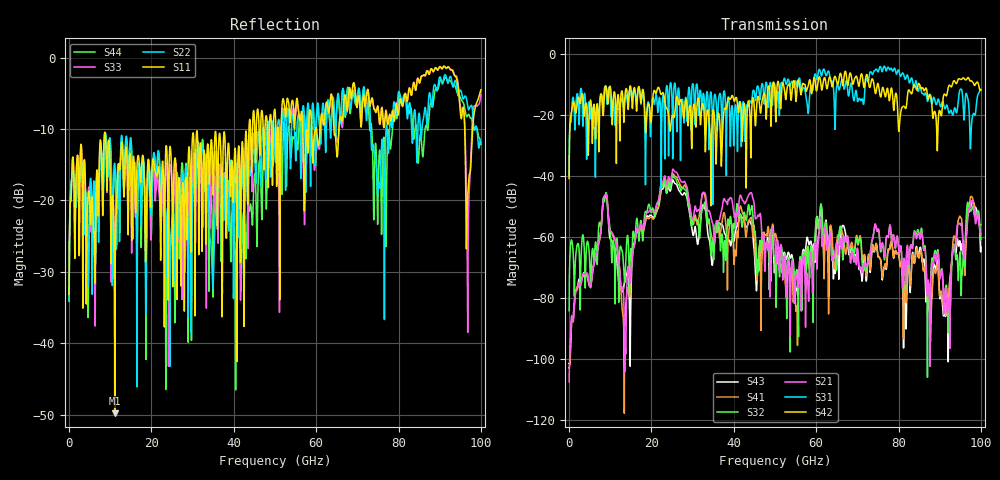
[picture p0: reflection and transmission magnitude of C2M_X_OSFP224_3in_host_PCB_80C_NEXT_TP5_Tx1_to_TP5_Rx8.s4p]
# GHz S RI R 45
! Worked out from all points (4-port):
!   4000 points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, 25 MHz to 100 GHz, reference 45 ohm
!   strongest paths, dB at 25 MHz, 25.02 GHz, 50.02 GHz, 75.03 GHz, 100 GHz:
!     S42: -40.9, -20.4, -14.8, -9.7, -11.8
!     S31: -39.7, -15.6, -10.6, -5.9, -11.5
!     S21: -107.6, -38.7, -61.6, -57.5, -59.1
!     S32: -84.3, -40.0, -67.8, -57.6, -60.3
!     S41: -103.1, -40.1, -59.3, -66.2, -56.0
!     S43: -101.5, -41.9, -68.0, -66.5, -63.4
!   lowest |S11| = -49.8 dB at 11.1 GHz (marker M1), VSWR 1.01, Z = 44.9 + j0.285 ohm
!   |S11| at or under -10 dB: start of sweep to 43.7 GHz; 56.74 GHz to 58.18 GHz (1.445 GHz wide, 2.51 % of centre); 96.08 GHz to 98 GHz (1.925 GHz wide, 1.98 % of centre) (the widest 3 of 14)
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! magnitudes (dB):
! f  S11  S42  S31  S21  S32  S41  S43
! 25 MHz  -33.1  -40.9  -39.7  -107.6  -84.3  -103.1  -101.5
! 8.7 GHz  -10.4  -11.4  -10.6  -46.6  -47.8  -46.6  -47.0
! 11.1 GHz  -49.8  -12.7  -21.6  -60.4  -71.6  -60.9  -64.0
! 13.55 GHz  -15.3  -14.5  -15.4  -100.2  -74.9  -90.1  -74.3
! 25.4 GHz  -17.4  -20.7  -12.9  -38.0  -40.4  -39.4  -41.8
! 54.9 GHz  -8.6  -11.5  -9.1  -74.1  -78.2  -79.6  -75.0
! 100 GHz  -4.5  -11.8  -11.5  -59.1  -60.3  -56.0  -63.4
